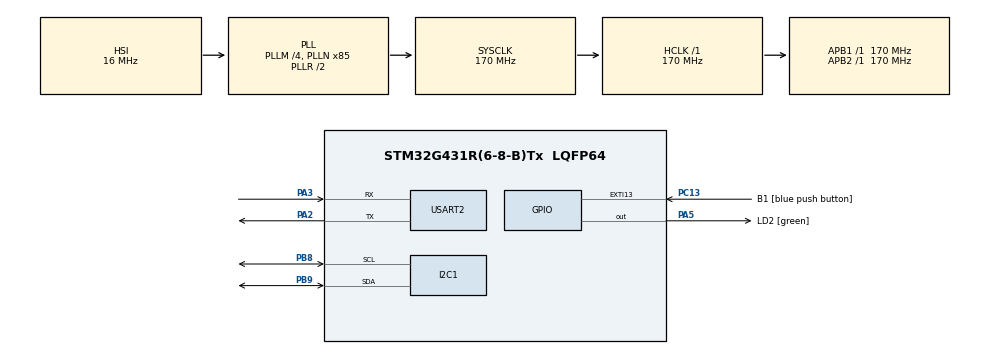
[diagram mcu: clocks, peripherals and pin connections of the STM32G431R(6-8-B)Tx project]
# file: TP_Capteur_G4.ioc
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I2C1.Timing=0x30A0A7FB
Mcu.Family=STM32G4
Mcu.Name=STM32G431R(6-8-B)Tx
Mcu.Package=LQFP64
NVIC.I2C1_EV_IRQn=true\:0\:0\:false\:false\:true\:true\:true\:true
NVIC.PriorityGroup=NVIC_PRIORITYGROUP_4
NVIC.USART2_IRQn=true\:0\:0\:false\:false\:true\:true\:true\:true
PA13.GPIO_Label=T_SWDIO
PA13.Mode=Serial_Wire
PA13.Signal=SYS_JTMS-SWDIO
PA14.GPIO_Label=T_SWCLK
PA14.Mode=Serial_Wire
PA14.Signal=SYS_JTCK-SWCLK
PA2.Mode=Asynchronous
PA2.Signal=USART2_TX
PA3.Mode=Asynchronous
PA3.Signal=USART2_RX
PA5.GPIO_Label=LD2 [green]
PA5.Signal=GPIO_Output
PB3.GPIO_Label=T_SWO
PB3.Signal=SYS_JTDO-SWO
PB8-BOOT0.Mode=I2C
PB8-BOOT0.Signal=I2C1_SCL
PB9.Mode=I2C
PB9.Signal=I2C1_SDA
PC13.GPIO_Label=B1 [blue push button]
PC13.Signal=GPXTI13
PC14-OSC32_IN.Mode=LSE-External-Oscillator
PC14-OSC32_IN.Signal=RCC_OSC32_IN
PC15-OSC32_OUT.Mode=LSE-External-Oscillator
PC15-OSC32_OUT.Signal=RCC_OSC32_OUT
PF0-OSC_IN.Mode=HSE-External-Oscillator
PF0-OSC_IN.Signal=RCC_OSC_IN
PF1-OSC_OUT.Mode=HSE-External-Oscillator
PF1-OSC_OUT.Signal=RCC_OSC_OUT
ProjectManager.HeapSize=0x200
ProjectManager.StackSize=0x400
ProjectManager.TargetToolchain=STM32CubeIDE
RCC.ADC12Freq_Value=170000000
RCC.AHBFreq_Value=170000000
RCC.APB1Freq_Value=170000000
RCC.APB1TimFreq_Value=170000000
RCC.APB2Freq_Value=170000000
RCC.APB2TimFreq_Value=170000000
RCC.CortexFreq_Value=170000000
RCC.EXTERNAL_CLOCK_VALUE=12288000
RCC.HCLKFreq_Value=170000000
RCC.HSE_VALUE=24000000
RCC.HSI48_VALUE=48000000
RCC.HSI_VALUE=16000000
RCC.PLLM=RCC_PLLM_DIV4
RCC.PLLN=85
RCC.RTCClockSelection=RCC_RTCCLKSOURCE_LSE
RCC.SYSCLKFreq_VALUE=170000000
RCC.SYSCLKSource=RCC_SYSCLKSOURCE_PLLCLK
RCC.USBFreq_Value=170000000
RCC.VCOOutputFreq_Value=340000000
USART2.VirtualMode-Asynchronous=VM_ASYNC
VP_SYS_VS_DBSignals.Mode=DisableDeadBatterySignals
board=NUCLEO-G431RB

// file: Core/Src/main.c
/* USER CODE BEGIN Header */
/**
  ******************************************************************************
  * @file           : main.c
  * @brief          : Main program body
  ******************************************************************************
  * @attention
  *
  * Copyright (c) 2022 STMicroelectronics.
  * All rights reserved.
  *
  * This software is licensed under terms that can be found in the LICENSE file
  * in the root directory of this software component.
  * If no LICENSE file comes with this software, it is provided AS-IS.
  *
  ******************************************************************************
  */
/* USER CODE END Header */
#include "main.h"

/* USER CODE BEGIN Includes */
#include <stdio.h>
#include "Const.h"
#include "functions.h"
/* USER CODE END Includes */

I2C_HandleTypeDef hi2c1;

UART_HandleTypeDef huart2;

/* USER CODE BEGIN PV */
#define MAX_COM_BUF 10
#define MPU_ADDR (0x68<<1) //décale de 1 car c’est le bit de lecture/écriture que gère le capteur (cf. datasheet)
#define ID_REG 0x75 //adresse du registre ID
#define ID_VAL 0x71 //contenu de registre attendu
#define MAX_SIZE_TEMP 32

uint8_t bcom[MAX_COM_BUF]; //sert à la fois pour l’adresse où l’on doit pointer mais aussi à récupérer (en écrasant les données) la valeur de là où l’on pointe
double buffer_temp[MAX_SIZE_TEMP];
double buffer_acc[MAX_SIZE_TEMP];
/* USER CODE END PV */

void SystemClock_Config(void);
static void MX_GPIO_Init(void);
static void MX_I2C1_Init(void);
static void MX_USART2_UART_Init(void);

int main(void)
{

  /* MCU Configuration--------------------------------------------------------*/

  /* Reset of all peripherals, Initializes the Flash interface and the Systick. */
  HAL_Init();

  /* Configure the system clock */
  SystemClock_Config();

  /* Initialize all configured peripherals */
  MX_GPIO_Init();
  MX_I2C1_Init();
  MX_USART2_UART_Init();
  /* USER CODE BEGIN 2 */
  HAL_Delay(1000);

  uint8_t i = 0, ret;
  int compt = 0;
  printf("Starting I2C Scanning: \r\n");
  for(i=0; i<255; i++){
	  ret = HAL_I2C_IsDeviceReady(&hi2c1, (uint16_t)(i<<1), 3, 5);
	  if (ret != HAL_OK) /* No ACK Received At That Address */
	  {
		 printf(" - \r\n");
		 compt+=1;
	  }
	  else if(ret == HAL_OK)
	  {
		printf("0x%X\r\n",i);
		compt+=1;
	  }
  }
  printf("Done! %d adresses scannees\r\n\r\n", compt);

  //vérification qu'on parle bien au bon capteur
  printf("who am i: \r\n");
  bcom[0]=WHO_AM_I_MPU9250;
  HAL_I2C_Master_Transmit(&hi2c1, MPU_ADD, bcom, 1, HAL_MAX_DELAY);
  HAL_I2C_Master_Receive(&hi2c1, MPU_ADD, bcom, 1, HAL_MAX_DELAY);
  printf("Je lis bien la valeur (0x71) : 0x%x\r\n",bcom[0]);
  Init(&hi2c1);

  /* USER CODE END 2 */

  /* Infinite loop */
  /* USER CODE BEGIN WHILE */
  while (1)
  {
	 Measure_T(&hi2c1,buffer_temp);
	 Measure_A(&hi2c1,buffer_acc);
	 HAL_Delay(1000);
    /* USER CODE END WHILE */

  }
}

void SystemClock_Config(void)
{
  RCC_OscInitTypeDef RCC_OscInitStruct = {0};
  RCC_ClkInitTypeDef RCC_ClkInitStruct = {0};

  /** Configure the main internal regulator output voltage
  */
  HAL_PWREx_ControlVoltageScaling(PWR_REGULATOR_VOLTAGE_SCALE1_BOOST);

  /** Initializes the RCC Oscillators according to the specified parameters
  * in the RCC_OscInitTypeDef structure.
  */
  RCC_OscInitStruct.OscillatorType = RCC_OSCILLATORTYPE_HSI;
  RCC_OscInitStruct.HSIState = RCC_HSI_ON;
  RCC_OscInitStruct.HSICalibrationValue = RCC_HSICALIBRATION_DEFAULT;
  RCC_OscInitStruct.PLL.PLLState = RCC_PLL_ON;
  RCC_OscInitStruct.PLL.PLLSource = RCC_PLLSOURCE_HSI;
  RCC_OscInitStruct.PLL.PLLM = RCC_PLLM_DIV4;
  RCC_OscInitStruct.PLL.PLLN = 85;
  RCC_OscInitStruct.PLL.PLLP = RCC_PLLP_DIV2;
  RCC_OscInitStruct.PLL.PLLQ = RCC_PLLQ_DIV2;
  RCC_OscInitStruct.PLL.PLLR = RCC_PLLR_DIV2;
  if (HAL_RCC_OscConfig(&RCC_OscInitStruct) != HAL_OK)
  {
    Error_Handler();
  }

  /** Initializes the CPU, AHB and APB buses clocks
  */
  RCC_ClkInitStruct.ClockType = RCC_CLOCKTYPE_HCLK|RCC_CLOCKTYPE_SYSCLK
                              |RCC_CLOCKTYPE_PCLK1|RCC_CLOCKTYPE_PCLK2;
  RCC_ClkInitStruct.SYSCLKSource = RCC_SYSCLKSOURCE_PLLCLK;
  RCC_ClkInitStruct.AHBCLKDivider = RCC_SYSCLK_DIV1;
  RCC_ClkInitStruct.APB1CLKDivider = RCC_HCLK_DIV1;
  RCC_ClkInitStruct.APB2CLKDivider = RCC_HCLK_DIV1;

  if (HAL_RCC_ClockConfig(&RCC_ClkInitStruct, FLASH_LATENCY_4) != HAL_OK)
  {
    Error_Handler();
  }
}

static void MX_I2C1_Init(void)
{

  hi2c1.Instance = I2C1;
  hi2c1.Init.Timing = 0x30A0A7FB;
  hi2c1.Init.OwnAddress1 = 0;
  hi2c1.Init.AddressingMode = I2C_ADDRESSINGMODE_7BIT;
  hi2c1.Init.DualAddressMode = I2C_DUALADDRESS_DISABLE;
  hi2c1.Init.OwnAddress2 = 0;
  hi2c1.Init.OwnAddress2Masks = I2C_OA2_NOMASK;
  hi2c1.Init.GeneralCallMode = I2C_GENERALCALL_DISABLE;
  hi2c1.Init.NoStretchMode = I2C_NOSTRETCH_DISABLE;
  if (HAL_I2C_Init(&hi2c1) != HAL_OK)
  {
    Error_Handler();
  }

  /** Configure Analogue filter
  */
  if (HAL_I2CEx_ConfigAnalogFilter(&hi2c1, I2C_ANALOGFILTER_ENABLE) != HAL_OK)
  {
    Error_Handler();
  }

  /** Configure Digital filter
  */
  if (HAL_I2CEx_ConfigDigitalFilter(&hi2c1, 0) != HAL_OK)
  {
    Error_Handler();
  }

}

static void MX_USART2_UART_Init(void)
{

  huart2.Instance = USART2;
  huart2.Init.BaudRate = 115200;
  huart2.Init.WordLength = UART_WORDLENGTH_8B;
  huart2.Init.StopBits = UART_STOPBITS_1;
  huart2.Init.Parity = UART_PARITY_NONE;
  huart2.Init.Mode = UART_MODE_TX_RX;
  huart2.Init.HwFlowCtl = UART_HWCONTROL_NONE;
  huart2.Init.OverSampling = UART_OVERSAMPLING_16;
  huart2.Init.OneBitSampling = UART_ONE_BIT_SAMPLE_DISABLE;
  huart2.Init.ClockPrescaler = UART_PRESCALER_DIV1;
  huart2.AdvancedInit.AdvFeatureInit = UART_ADVFEATURE_NO_INIT;
  if (HAL_UART_Init(&huart2) != HAL_OK)
  {
    Error_Handler();
  }
  if (HAL_UARTEx_SetTxFifoThreshold(&huart2, UART_TXFIFO_THRESHOLD_1_8) != HAL_OK)
  {
    Error_Handler();
  }
  if (HAL_UARTEx_SetRxFifoThreshold(&huart2, UART_RXFIFO_THRESHOLD_1_8) != HAL_OK)
  {
    Error_Handler();
  }
  if (HAL_UARTEx_DisableFifoMode(&huart2) != HAL_OK)
  {
    Error_Handler();
  }

}

static void MX_GPIO_Init(void)
{
  GPIO_InitTypeDef GPIO_InitStruct = {0};

  /* GPIO Ports Clock Enable */
  __HAL_RCC_GPIOC_CLK_ENABLE();
  __HAL_RCC_GPIOF_CLK_ENABLE();
  __HAL_RCC_GPIOA_CLK_ENABLE();
  __HAL_RCC_GPIOB_CLK_ENABLE();

  /*Configure GPIO pin Output Level */
  HAL_GPIO_WritePin(LD2_GPIO_Port, LD2_Pin, GPIO_PIN_RESET);

  /*Configure GPIO pin : B1_Pin */
  GPIO_InitStruct.Pin = B1_Pin;
  GPIO_InitStruct.Mode = GPIO_MODE_IT_RISING;
  GPIO_InitStruct.Pull = GPIO_NOPULL;
  HAL_GPIO_Init(B1_GPIO_Port, &GPIO_InitStruct);

  /*Configure GPIO pin : LD2_Pin */
  GPIO_InitStruct.Pin = LD2_Pin;
  GPIO_InitStruct.Mode = GPIO_MODE_OUTPUT_PP;
  GPIO_InitStruct.Pull = GPIO_NOPULL;
  GPIO_InitStruct.Speed = GPIO_SPEED_FREQ_LOW;
  HAL_GPIO_Init(LD2_GPIO_Port, &GPIO_InitStruct);

}

void Error_Handler(void)
{
  __disable_irq();
  while (1)
  {
  }
}
